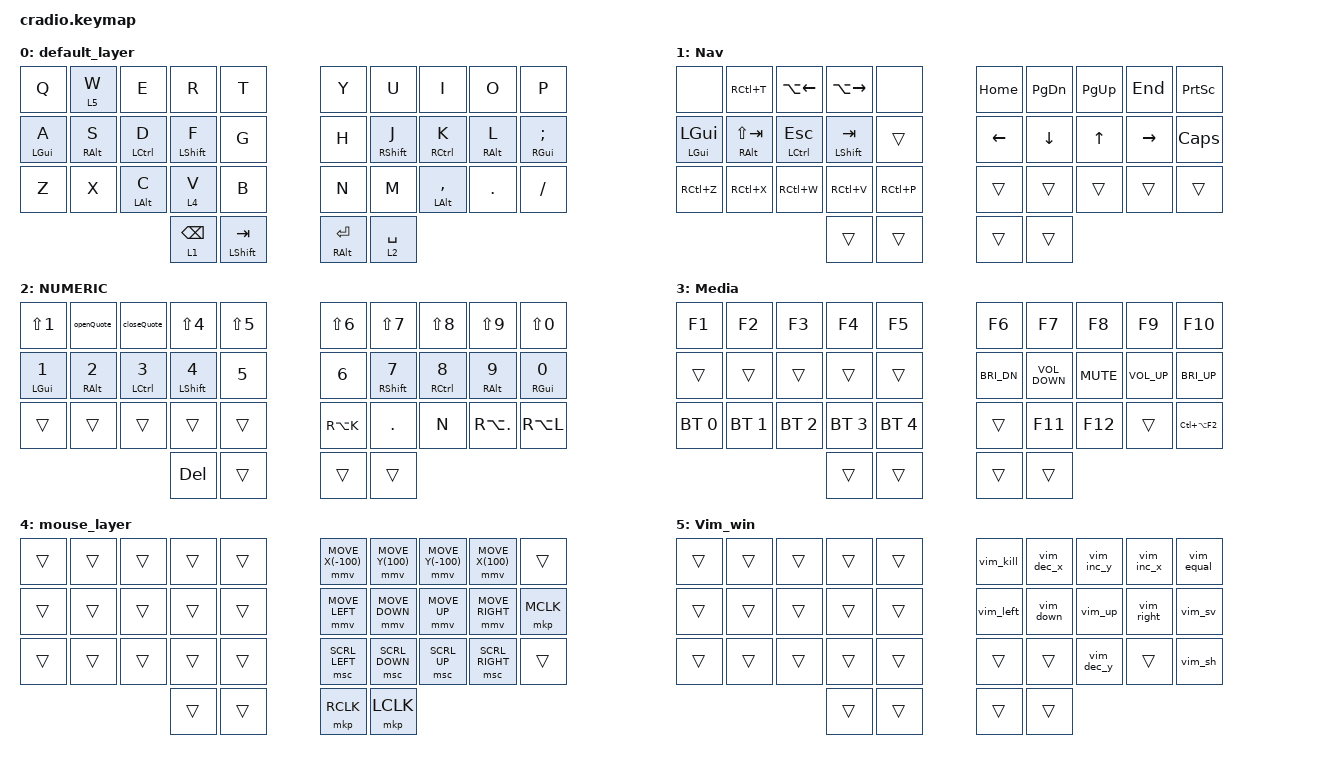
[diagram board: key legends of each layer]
/*
 * Copyright (c) 2020 The ZMK Contributors
 *
 * SPDX-License-Identifier: MIT
 */

#include <dt-bindings/zmk/mouse.h>
#include <behaviors.dtsi>
#include <dt-bindings/zmk/bt.h>
#include <dt-bindings/zmk/keys.h>
#include <dt-bindings/zmk/pointing.h>

#define ZMK_POINTING_DEFAULT_MOVE_VAL 800  // Valeur du hummingbird
#define ZMK_POINTING_DEFAULT_SCRL_VAL 10   // Valeur du cradio
#define DEF_L 0
#define NAV_L 1
#define NUM_L 2
#define SYM_L 3
#define MOUSE_L 4

// Using layer taps on thumbs, having quick tap as well helps w/ repeating space/backspace
// imported from Ækeynox

#ifndef TAPPING_TERM

#define TAPPING_TERM 300

#endif

#ifndef SHORT_TAPPING_TERM

#define SHORT_TAPPING_TERM 150

#endif

#ifndef QUICK_TAP

#define QUICK_TAP 200

#endif

&mt {
    tapping-term-ms = <SHORT_TAPPING_TERM>;
    quick-tap-ms = <QUICK_TAP>;
};

&lt {
    tapping-term-ms = <TAPPING_TERM>;
    quick-tap-ms = <QUICK_TAP>;
};

// end import from Ækeynox

/ {
    behaviors {
        hml: hml {
            compatible = "zmk,behavior-hold-tap";
            flavor = "balanced";
            tapping-term-ms = <280>;
            quick-tap-ms = <175>;
            #binding-cells = <2>;
            bindings = <&kp>, <&kp>;

            // Utilise les positions de touches du cradio

            hold-trigger-key-positions = <5 6 7 8 9 15 16 17 18 19 25 26 27 28 29 32 33 30 31>;
            require-prior-idle-ms = <150>;
            hold-trigger-on-release;
        };

        hmr: hmr {
            compatible = "zmk,behavior-hold-tap";
            flavor = "balanced";
            tapping-term-ms = <280>;
            quick-tap-ms = <175>;
            #binding-cells = <2>;
            bindings = <&kp>, <&kp>;

            hold-trigger-key-positions = <0 1 2 3 4 10 11 12 13 14 20 21 22 23 24 31 30 32 33>;
            require-prior-idle-ms = <150>;
            hold-trigger-on-release;
        };

        hroa: hroa {
            compatible = "zmk,behavior-hold-tap";
            flavor = "balanced";
            tapping-term-ms = <200>;
            quick-tap-ms = <150>;
            #binding-cells = <2>;
            bindings = <&kp>, <&openQuote>;

            hold-trigger-key-positions = <5 6 7 8 9 15 16 17 18 19 25 26 27 28 29 32 33 30 31>;
            require-prior-idle-ms = <100>;
            hold-trigger-on-release;
            label = "HROA";
        };

        hrl: hrl {
            compatible = "zmk,behavior-hold-tap";
            flavor = "balanced";
            tapping-term-ms = <280>;
            quick-tap-ms = <175>;
            #binding-cells = <2>;
            bindings = <&mo>, <&kp>;

            hold-trigger-key-positions = <5 6 7 8 9 15 16 17 18 19 25 26 27 28 29 32 33 30 31>;
            require-prior-idle-ms = <150>;

            // hold-trigger-on-release;

            label = "HRL";
        };

        f_hml: f_hml {
            compatible = "zmk,behavior-hold-tap";
            flavor = "balanced";
            tapping-term-ms = <200>;
            quick-tap-ms = <150>;
            #binding-cells = <2>;
            bindings = <&kp>, <&kp>;

            hold-trigger-key-positions = <5 6 7 8 9 15 16 17 18 19 25 26 27 28 29 32 33 30 31>;
            require-prior-idle-ms = <100>;
            hold-trigger-on-release;
            label = "F_HML";
        };

        f_hmr: f_hmr {
            compatible = "zmk,behavior-hold-tap";
            flavor = "balanced";
            tapping-term-ms = <200>;
            quick-tap-ms = <150>;
            #binding-cells = <2>;
            bindings = <&kp>, <&kp>;

            hold-trigger-key-positions = <0 1 2 3 4 10 11 12 13 14 20 21 22 23 24 31 30 32 33>;
            require-prior-idle-ms = <100>;
            hold-trigger-on-release;
            label = "F_HMR";
        };

        Y_capslock: Y_capslock {
            compatible = "zmk,behavior-tap-dance";
            label = "Y_CAPSLOCK";
            #binding-cells = <0>;
            bindings = <&kp Y>, <&kp CAPSLOCK>;
        };

        cal_l: cal_l {
            compatible = "zmk,behavior-hold-tap";
            flavor = "balanced";
            tapping-term-ms = <280>;
            quick-tap-ms = <175>;
            #binding-cells = <2>;
            bindings = <&kp>, <&sk>;

            hold-trigger-key-positions = <5 6 7 8 9 15 16 17 18 19 25 26 27 28 29 32 33 30 31>;
            require-prior-idle-ms = <150>;
            hold-trigger-on-release;
            label = "CAL_L";
        };

        cal_r: cal_r {
            compatible = "zmk,behavior-hold-tap";
            flavor = "balanced";
            tapping-term-ms = <280>;
            quick-tap-ms = <175>;
            #binding-cells = <2>;
            bindings = <&kp>, <&sk>;

            hold-trigger-key-positions = <0 1 2 3 4 10 11 12 13 14 20 21 22 23 24 31 30 32 33>;
            require-prior-idle-ms = <150>;
            hold-trigger-on-release;
            label = "CAL_R";
        };
    };

    combos {
        compatible = "zmk,combos";

        // Combos du cradio conservés

        Media {
            bindings = <&mo 3>; // Layer SYM_L (Media)
            key-positions = <30 33>;
        };

        // Combos du hummingbird adaptés

        ClrBlutooth {
            bindings = <&bt BT_CLR_ALL>;
            key-positions = <11 12 13>;
            layers = <3>;
        };

        FastESC {
            bindings = <&kp ESCAPE>;
            key-positions = <12 11>;
            timeout-ms = <15>;
            require-prior-idle-ms = <150>;
        };

        FastTab {
            bindings = <&kp TAB>;
            key-positions = <12 13>;
            timeout-ms = <15>;
            require-prior-idle-ms = <150>;
        };

        // Combos pour lettres spécifiques du hummingbird
        // Conserve les BestB et BestDot du cradio
    };

    macros {
        openQuote: open_angle_quote {
            compatible = "zmk,behavior-macro";
            #binding-cells = <0>;
            bindings = <&kp LS(NUMBER_2) &kp LS(SPACE)>;
            label = "OPEN_ANGLE_QUOTE";
        };

        closeQuote: closed_angle_quote {
            compatible = "zmk,behavior-macro";
            #binding-cells = <0>;
            bindings = <&kp LS(SPACE) &kp LS(NUMBER_3)>;
            label = "CLOSED_ANGLE_QUOTE";
        };

        Vim_change_window: Vim_change_window {
            compatible = "zmk,behavior-macro";
            #binding-cells = <0>;
            bindings = <&kp LC(T) &kp T>;
            label = "VIM_CHANGE_WINDOW";
        };

        vim_dec_x: vim_reduce_x {
            compatible = "zmk,behavior-macro";
            #binding-cells = <0>;
            bindings = <&kp LC(T) &kp RA(W)>;
            label = "VIM_REDUCE_X";
        };

        vim_inc_x: vim_increase_x {
            compatible = "zmk,behavior-macro";
            #binding-cells = <0>;
            bindings = <&kp LC(T) &kp RA(E)>;
            label = "VIM_INCREASE_X";
        };

        vim_dec_y: vim_decrease_y {
            compatible = "zmk,behavior-macro";
            #binding-cells = <0>;
            bindings = <&kp LC(T) &kp RA(K)>;
            label = "VIM_DECREASE_Y";
        };

        vim_inc_y: vim_increase_y {
            compatible = "zmk,behavior-macro";
            #binding-cells = <0>;
            bindings = <&kp LC(T) &kp RA(J)>;
            label = "VIM_INCREASE_Y";
        };

        vim_equal: vim_equal {
            compatible = "zmk,behavior-macro";
            #binding-cells = <0>;
            bindings = <&kp LC(T) &kp RA(G)>;
            label = "VIM_EQUAL";
        };

        vim_kill: vim_kill {
            compatible = "zmk,behavior-macro";
            #binding-cells = <0>;
            bindings = <&kp LC(T) &kp Q>;
            label = "VIM_KILL";
        };

        vim_sh: vim_sh {
            compatible = "zmk,behavior-macro";
            #binding-cells = <0>;
            bindings = <&kp LC(T) &kp S>;
            label = "VIM_SH";
        };

        vim_sv: vim_sv {
            compatible = "zmk,behavior-macro";
            #binding-cells = <0>;
            bindings = <&kp LC(T) &kp V>;
            label = "VIM_SV";
        };

        vim_left: vim_left {
            compatible = "zmk,behavior-macro";
            #binding-cells = <0>;
            bindings = <&kp LC(T) &kp LEFT>;
            label = "VIM_LEFT";
        };

        vim_right: vim_right {
            compatible = "zmk,behavior-macro";
            #binding-cells = <0>;
            bindings = <&kp LC(T) &kp RIGHT>;
            label = "VIM_RIGHT";
        };

        vim_up: vim_up {
            compatible = "zmk,behavior-macro";
            #binding-cells = <0>;
            bindings = <&kp LC(T) &kp UP_ARROW>;
            label = "VIM_UP";
        };

        vim_down: vim_down {
            compatible = "zmk,behavior-macro";
            #binding-cells = <0>;
            bindings = <&kp LC(T) &kp DOWN>;
            label = "VIM_DOWN";
        };
    };

    keymap {
        compatible = "zmk,keymap";

        default_layer {
            bindings = <
&kp Q        &hrl 5 W     &kp E         &kp R            &kp T                 &kp Y                &kp U           &kp I            &kp O        &kp P
&hml LGUI A  &hml RALT S  &hml LCTRL D  &f_hml LSHFT F   &kp G                 &kp H                &f_hmr RSHFT J  &hmr RCTRL K     &hmr RALT L  &hmr RGUI SEMICOLON
&kp Z        &kp X        &hml LALT C   &hrl 4 V         &kp B                 &kp N                &kp M           &hmr LALT COMMA  &kp DOT      &kp FSLH
                                        &lt 1 BACKSPACE  &mt LEFT_SHIFT TAB    &mt RIGHT_ALT ENTER  &lt 2 SPACE
            >;
        };

        nav_layer {
            display-name = "Nav";
            bindings = <
&none                   &kp RC(T)               &kp LA(LEFT)       &kp LA(RIGHT)        &none        &kp HOME  &kp PAGE_DOWN  &kp PG_UP     &kp END    &kp PRINTSCREEN
&hml LEFT_GUI LEFT_GUI  &hml RIGHT_ALT LS(TAB)  &hml LCTRL ESCAPE  &hml LEFT_SHIFT TAB  &trans       &kp LEFT  &kp DOWN       &kp UP_ARROW  &kp RIGHT  &kp CAPS
&kp RC(Z)               &kp RC(X)               &kp RC(W)          &kp RC(V)            &kp RC(P)    &trans    &trans         &trans        &trans     &trans
                                                                   &trans               &trans       &trans    &trans
            >;
        };

        num_layer {
            display-name = "NUMERIC";
            bindings = <
&kp LS(NUMBER_1)  &openQuote    &closeQuote    &kp LS(NUMBER_4)    &kp LS(NUMBER_5)    &kp LS(NUMBER_6)  &kp LS(NUMBER_7)       &kp LS(NUMBER_8)  &kp LS(NUMBER_9)   &kp LS(NUMBER_0)
&hml LGUI N1      &hml RALT N2  &hml LCTRL N3  &hml LEFT_SHIFT N4  &kp N5              &kp N6            &f_hmr RIGHT_SHIFT N7  &hmr RCTRL N8     &hmr RIGHT_ALT N9  &hmr RIGHT_GUI N0
&trans            &trans        &trans         &trans              &trans              &kp RA(K)         &kp PERIOD             &kp N             &kp RA(PERIOD)     &kp RA(L)
                                               &kp DELETE          &trans              &trans            &trans
            >;
        };

        Media_layer {
            display-name = "Media";
            bindings = <
&kp F1        &kp F2        &kp F3        &kp F4        &kp F5          &kp F6        &kp F7             &kp F8      &kp F9           &kp F10
&trans        &trans        &trans        &trans        &trans          &kp C_BRI_DN  &kp C_VOLUME_DOWN  &kp C_MUTE  &kp C_VOLUME_UP  &kp C_BRI_UP
&bt BT_SEL 0  &bt BT_SEL 1  &bt BT_SEL 2  &bt BT_SEL 3  &bt BT_SEL 4    &trans        &kp F11            &kp F12     &trans           &kp LC(LA(F2))
                                          &trans        &trans          &trans        &trans
            >;
        };

        mouse_layer {
            bindings = <
&trans  &trans  &trans  &trans  &trans    &mmv MOVE_X(-100)  &mmv MOVE_Y(100)  &mmv MOVE_Y(-100)  &mmv MOVE_X(100)  &trans
&trans  &trans  &trans  &trans  &trans    &mmv MOVE_LEFT     &mmv MOVE_DOWN    &mmv MOVE_UP       &mmv MOVE_RIGHT   &mkp MCLK
&trans  &trans  &trans  &trans  &trans    &msc SCRL_LEFT     &msc SCRL_DOWN    &msc SCRL_UP       &msc SCRL_RIGHT   &trans
                        &trans  &trans    &mkp RCLK          &mkp LCLK
            >;
        };

        Vim_win {
            bindings = <
&trans  &trans  &trans  &trans  &trans    &vim_kill  &vim_dec_x  &vim_inc_y  &vim_inc_x  &vim_equal
&trans  &trans  &trans  &trans  &trans    &vim_left  &vim_down   &vim_up     &vim_right  &vim_sv
&trans  &trans  &trans  &trans  &trans    &trans     &trans      &vim_dec_y  &trans      &vim_sh
                        &trans  &trans    &trans     &trans
            >;
        };
    };

    conditional_layers {
        compatible = "zmk,conditional-layers";

        MediaLayer {
            if-layers = <1 2>;
            then-layer = <3>;
        };
    };
};
